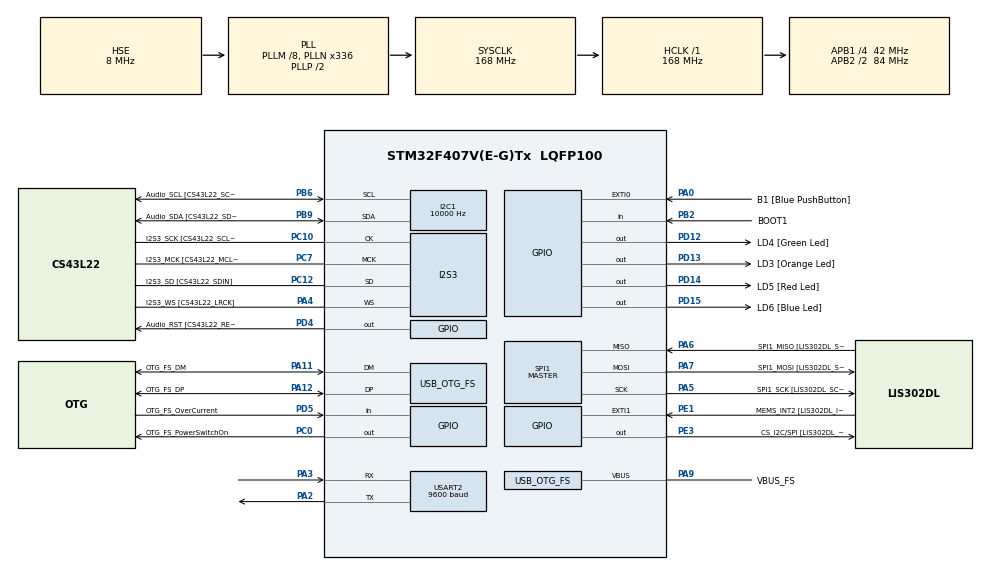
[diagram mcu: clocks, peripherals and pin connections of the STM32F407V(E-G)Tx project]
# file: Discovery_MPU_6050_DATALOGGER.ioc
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I2C1.ClockSpeed=10000
I2S3.AudioFreq-Half_Duplex_Master=I2S_AUDIOFREQ_96K
I2S3.ErrorAudioFreq=-2.34 %
I2S3.ErrorAudioFreq-Half_Duplex_Master=0.8 %
I2S3.FullDuplexMode=I2S_FULLDUPLEXMODE_DISABLE
I2S3.Instance=SPI$Index
I2S3.RealAudioFreq=93.75 KHz
I2S3.RealAudioFreq-Half_Duplex_Master=96.774 KHz
I2S3.VirtualMode=I2S_MODE_MASTER
Mcu.Family=STM32F4
Mcu.Name=STM32F407V(E-G)Tx
Mcu.Package=LQFP100
NVIC.OTG_FS_IRQn=true\:0\:0\:false\:false\:true\:true\:true\:true
NVIC.PriorityGroup=NVIC_PRIORITYGROUP_0
PA0-WKUP.GPIO_Label=B1 [Blue PushButton]
PA0-WKUP.GPIO_ModeDefaultEXTI=GPIO_MODE_EVT_RISING
PA0-WKUP.GPIO_PuPd=GPIO_NOPULL
PA0-WKUP.Signal=GPXTI0
PA10.GPIO_Label=OTG_FS_ID
PA10.GPIO_Mode=GPIO_MODE_AF_PP
PA10.GPIO_PuPd=GPIO_NOPULL
PA10.GPIO_Speed=GPIO_SPEED_FREQ_LOW
PA10.Signal=USB_OTG_FS_ID
PA11.GPIO_Label=OTG_FS_DM
PA11.GPIO_Mode=GPIO_MODE_AF_PP
PA11.GPIO_PuPd=GPIO_NOPULL
PA11.GPIO_Speed=GPIO_SPEED_FREQ_LOW
PA11.Mode=Host_Only
PA11.Signal=USB_OTG_FS_DM
PA12.GPIO_Label=OTG_FS_DP
PA12.GPIO_Mode=GPIO_MODE_AF_PP
PA12.GPIO_PuPd=GPIO_NOPULL
PA12.GPIO_Speed=GPIO_SPEED_FREQ_LOW
PA12.Mode=Host_Only
PA12.Signal=USB_OTG_FS_DP
PA13.GPIO_Label=SWDIO
PA13.Mode=Serial_Wire
PA13.Signal=SYS_JTMS-SWDIO
PA14.GPIO_Label=SWCLK
PA14.Mode=Serial_Wire
PA14.Signal=SYS_JTCK-SWCLK
PA2.Mode=Asynchronous
PA2.Signal=USART2_TX
PA3.Mode=Asynchronous
PA3.Signal=USART2_RX
PA4.GPIO_Label=I2S3_WS [CS43L22_LRCK]
PA4.GPIO_Mode=GPIO_MODE_AF_PP
PA4.GPIO_PuPd=GPIO_NOPULL
PA4.GPIO_Speed=GPIO_SPEED_FREQ_LOW
PA4.Mode=Half_Duplex_Master
PA4.Signal=I2S3_WS
PA5.GPIO_Label=SPI1_SCK [LIS302DL_SCL/SPC]
PA5.GPIO_Mode=GPIO_MODE_AF_PP
PA5.GPIO_PuPd=GPIO_NOPULL
PA5.GPIO_Speed=GPIO_SPEED_FREQ_LOW
PA5.Mode=Full_Duplex_Master
PA5.Signal=SPI1_SCK
PA6.GPIO_Label=SPI1_MISO [LIS302DL_SDO]
PA6.GPIO_Mode=GPIO_MODE_AF_PP
PA6.GPIO_PuPd=GPIO_NOPULL
PA6.GPIO_Speed=GPIO_SPEED_FREQ_LOW
PA6.Mode=Full_Duplex_Master
PA6.Signal=SPI1_MISO
PA7.GPIO_Label=SPI1_MOSI [LIS302DL_SDA/SDI/SDO]
PA7.GPIO_Mode=GPIO_MODE_AF_PP
PA7.GPIO_PuPd=GPIO_NOPULL
PA7.GPIO_Speed=GPIO_SPEED_FREQ_LOW
PA7.Mode=Full_Duplex_Master
PA7.Signal=SPI1_MOSI
PA9.GPIO_Label=VBUS_FS
PA9.GPIO_Mode=GPIO_MODE_INPUT
PA9.GPIO_PuPd=GPIO_NOPULL
PA9.Mode=Activate_VBUS
PA9.Signal=USB_OTG_FS_VBUS
PB10.GPIO_Label=CLK_IN [MP45DT02_CLK]
PB10.GPIO_Mode=GPIO_MODE_AF_PP
PB10.GPIO_PuPd=GPIO_NOPULL
PB10.GPIO_Speed=GPIO_SPEED_FREQ_LOW
PB10.Signal=I2S2_CK
PB2.GPIO_Label=BOOT1
PB2.GPIO_Mode=GPIO_MODE_INPUT
PB2.GPIO_PuPd=GPIO_NOPULL
PB2.Signal=GPIO_Input
PB3.GPIO_Label=SWO
PB3.Signal=SYS_JTDO-SWO
PB6.GPIO_Label=Audio_SCL [CS43L22_SCL]
PB6.GPIO_Mode=GPIO_MODE_AF_OD
PB6.GPIO_Pu=GPIO_PULLUP
PB6.GPIO_PuPd=GPIO_NOPULL
PB6.GPIO_Speed=GPIO_SPEED_FREQ_LOW
PB6.Mode=I2C
PB6.Signal=I2C1_SCL
PB9.GPIO_Label=Audio_SDA [CS43L22_SDA]
PB9.GPIO_Mode=GPIO_MODE_AF_OD
PB9.GPIO_Pu=GPIO_PULLUP
PB9.GPIO_PuPd=GPIO_NOPULL
PB9.GPIO_Speed=GPIO_SPEED_FREQ_LOW
PB9.Mode=I2C
PB9.Signal=I2C1_SDA
PC0.GPIO_Label=OTG_FS_PowerSwitchOn
PC0.GPIO_PuPd=GPIO_NOPULL
PC0.GPIO_Speed=GPIO_SPEED_FREQ_LOW
PC0.PinState=GPIO_PIN_SET
PC0.Signal=GPIO_Output
PC10.GPIO_Label=I2S3_SCK [CS43L22_SCLK]
PC10.GPIO_Mode=GPIO_MODE_AF_PP
PC10.GPIO_PuPd=GPIO_NOPULL
PC10.GPIO_Speed=GPIO_SPEED_FREQ_LOW
PC10.Mode=Half_Duplex_Master
PC10.Signal=I2S3_CK
PC12.GPIO_Label=I2S3_SD [CS43L22_SDIN]
PC12.GPIO_Mode=GPIO_MODE_AF_PP
PC12.GPIO_PuPd=GPIO_NOPULL
PC12.GPIO_Speed=GPIO_SPEED_FREQ_LOW
PC12.Mode=Half_Duplex_Master
PC12.Signal=I2S3_SD
PC14-OSC32_IN.GPIO_Label=PC14-OSC32_IN
PC14-OSC32_IN.Mode=LSE-External-Oscillator
PC14-OSC32_IN.Signal=RCC_OSC32_IN
PC15-OSC32_OUT.GPIO_Label=PC15-OSC32_OUT
PC15-OSC32_OUT.Mode=LSE-External-Oscillator
PC15-OSC32_OUT.Signal=RCC_OSC32_OUT
PC3.GPIO_Label=PDM_OUT [MP45DT02_DOUT]
PC3.GPIO_Mode=GPIO_MODE_AF_PP
PC3.GPIO_PuPd=GPIO_NOPULL
PC3.GPIO_Speed=GPIO_SPEED_FREQ_LOW
PC3.Signal=I2S2_SD
PC7.GPIO_Label=I2S3_MCK [CS43L22_MCLK]
PC7.GPIO_Mode=GPIO_MODE_AF_PP
PC7.GPIO_PuPd=GPIO_NOPULL
PC7.GPIO_Speed=GPIO_SPEED_FREQ_LOW
PC7.Mode=Master_Clock_Activated
PC7.Signal=I2S3_MCK
PD12.GPIO_Label=LD4 [Green Led]
PD12.GPIO_PuPd=GPIO_NOPULL
PD12.GPIO_Speed=GPIO_SPEED_FREQ_LOW
PD12.Signal=GPIO_Output
PD13.GPIO_Label=LD3 [Orange Led]
PD13.GPIO_PuPd=GPIO_NOPULL
PD13.GPIO_Speed=GPIO_SPEED_FREQ_LOW
PD13.Signal=GPIO_Output
PD14.GPIO_Label=LD5 [Red Led]
PD14.GPIO_PuPd=GPIO_NOPULL
PD14.GPIO_Speed=GPIO_SPEED_FREQ_LOW
PD14.Signal=GPIO_Output
PD15.GPIO_Label=LD6 [Blue Led]
PD15.GPIO_PuPd=GPIO_NOPULL
PD15.GPIO_Speed=GPIO_SPEED_FREQ_LOW
PD15.Signal=GPIO_Output
PD4.GPIO_Label=Audio_RST [CS43L22_RESET]
PD4.GPIO_PuPd=GPIO_NOPULL
PD4.GPIO_Speed=GPIO_SPEED_FREQ_LOW
PD4.Signal=GPIO_Output
PD5.GPIO_Label=OTG_FS_OverCurrent
PD5.GPIO_Mode=GPIO_MODE_INPUT
PD5.GPIO_PuPd=GPIO_NOPULL
PD5.Signal=GPIO_Input
PE1.GPIO_Label=MEMS_INT2 [LIS302DL_INT2]
PE1.GPIO_ModeDefaultEXTI=GPIO_MODE_EVT_RISING
PE1.GPIO_PuPd=GPIO_NOPULL
PE1.Signal=GPXTI1
PE3.GPIO_Label=CS_I2C/SPI [LIS302DL_CS_I2C/SPI]
PE3.GPIO_PuPd=GPIO_NOPULL
PE3.GPIO_Speed=GPIO_SPEED_FREQ_LOW
PE3.Signal=GPIO_Output
PH0-OSC_IN.GPIO_Label=PH0-OSC_IN
PH0-OSC_IN.Mode=HSE-External-Oscillator
PH0-OSC_IN.Signal=RCC_OSC_IN
PH1-OSC_OUT.GPIO_Label=PH1-OSC_OUT
PH1-OSC_OUT.Mode=HSE-External-Oscillator
PH1-OSC_OUT.Signal=RCC_OSC_OUT
ProjectManager.HeapSize=0x200
ProjectManager.StackSize=0x400
ProjectManager.TargetToolchain=STM32CubeIDE
RCC.48MHZClocksFreq_Value=48000000
RCC.AHBFreq_Value=168000000
RCC.APB1CLKDivider=RCC_HCLK_DIV4
RCC.APB1Freq_Value=42000000
RCC.APB1TimFreq_Value=84000000
RCC.APB2CLKDivider=RCC_HCLK_DIV2
RCC.APB2Freq_Value=84000000
RCC.APB2TimFreq_Value=168000000
RCC.CortexFreq_Value=168000000
RCC.HCLKFreq_Value=168000000
RCC.HSE_VALUE=8000000
RCC.HSI_VALUE=16000000
RCC.PLLM=8
RCC.PLLN=336
RCC.PLLQ=7
RCC.SYSCLKFreq_VALUE=168000000
RCC.SYSCLKSource=RCC_SYSCLKSOURCE_PLLCLK
RCC.VCOOutputFreq_Value=336000000
SPI1.BaudRatePrescaler-Full_Duplex_Master=SPI_BAUDRATEPRESCALER_2
SPI1.CalculateBaudRate-Full_Duplex_Master=42.0 MBits/s
SPI1.Direction=SPI_DIRECTION_2LINES
SPI1.Mode=SPI_MODE_MASTER
SPI1.Mode-Full_Duplex_Master=SPI_MODE_MASTER
SPI1.VirtualType=VM_MASTER
USART2.BaudRate=9600
USART2.VirtualMode=VM_ASYNC
USB_HOST.BSP.number=1
USB_HOST.USBH_HandleTypeDef-CDC_FS=hUsbHostFS
USB_HOST.VirtualModeFS=Cdc
USB_HOST0.BSP.STBoard=false
USB_HOST0.BSP.api=Unknown
USB_HOST0.BSP.instance=PC0
USB_HOST0.BSP.ip=GPIO
USB_HOST0.BSP.mode=Output
USB_HOST0.BSP.name=Drive_VBUS_FS
USB_HOST0.BSP.solution=PC0
USB_OTG_FS.VirtualMode=Host_Only
USB_OTG_FS.phy_itface=HCD_PHY_EMBEDDED
VP_USB_HOST_VS_USB_HOST_CDC_FS.Mode=CDC_FS
board=STM32F407G-DISC1

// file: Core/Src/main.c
/* USER CODE BEGIN Header */
/**
  ******************************************************************************
  * @file           : main.c
  * @brief          : Main program body
  ******************************************************************************
  * @attention
  *
  * Copyright (c) 2023 STMicroelectronics.
  * All rights reserved.
  *
  * This software is licensed under terms that can be found in the LICENSE file
  * in the root directory of this software component.
  * If no LICENSE file comes with this software, it is provided AS-IS.
  *
  ******************************************************************************
  */
/* USER CODE END Header */
#include "main.h"
#include "usb_host.h"

/* USER CODE BEGIN Includes */
#include "mpu.h"
#include "stdio.h"
#include "string.h"
/* USER CODE END Includes */

/* USER CODE BEGIN PM */
#define DATA_INPUT_USER 256
#define AXIS_NUMBER 3
/* USER CODE END PM */

I2C_HandleTypeDef hi2c1;

I2S_HandleTypeDef hi2s3;

SPI_HandleTypeDef hspi1;

UART_HandleTypeDef huart2;

/* USER CODE BEGIN PV */
float mpu_buffer[DATA_INPUT_USER * AXIS_NUMBER] = {0};
/* USER CODE END PV */

void SystemClock_Config(void);
static void MX_GPIO_Init(void);
static void MX_I2C1_Init(void);
static void MX_I2S3_Init(void);
static void MX_SPI1_Init(void);
static void MX_USART2_UART_Init(void);
void MX_USB_HOST_Process(void);

/* USER CODE BEGIN PFP */
void fill_mpu_buffer();
void Log();
/* USER CODE END PFP */

int main(void)
{

  /* MCU Configuration--------------------------------------------------------*/

  /* Reset of all peripherals, Initializes the Flash interface and the Systick. */
  HAL_Init();

  /* Configure the system clock */
  SystemClock_Config();

  /* Initialize all configured peripherals */
  MX_GPIO_Init();
  MX_I2C1_Init();
  MX_I2S3_Init();
  MX_SPI1_Init();
  MX_USB_HOST_Init();
  MX_USART2_UART_Init();
  /* USER CODE BEGIN 2 */
MPU6050_Init();
HAL_Delay(1000);
  /* USER CODE END 2 */

  /* Infinite loop */
  /* USER CODE BEGIN WHILE */
  while (1)
  {
	  Log();
    /* USER CODE END WHILE */
    MX_USB_HOST_Process();

  }
}

void SystemClock_Config(void)
{
  RCC_OscInitTypeDef RCC_OscInitStruct = {0};
  RCC_ClkInitTypeDef RCC_ClkInitStruct = {0};

  /** Configure the main internal regulator output voltage
  */
  __HAL_RCC_PWR_CLK_ENABLE();
  __HAL_PWR_VOLTAGESCALING_CONFIG(PWR_REGULATOR_VOLTAGE_SCALE1);

  /** Initializes the RCC Oscillators according to the specified parameters
  * in the RCC_OscInitTypeDef structure.
  */
  RCC_OscInitStruct.OscillatorType = RCC_OSCILLATORTYPE_HSE;
  RCC_OscInitStruct.HSEState = RCC_HSE_ON;
  RCC_OscInitStruct.PLL.PLLState = RCC_PLL_ON;
  RCC_OscInitStruct.PLL.PLLSource = RCC_PLLSOURCE_HSE;
  RCC_OscInitStruct.PLL.PLLM = 8;
  RCC_OscInitStruct.PLL.PLLN = 336;
  RCC_OscInitStruct.PLL.PLLP = RCC_PLLP_DIV2;
  RCC_OscInitStruct.PLL.PLLQ = 7;
  if (HAL_RCC_OscConfig(&RCC_OscInitStruct) != HAL_OK)
  {
    Error_Handler();
  }

  /** Initializes the CPU, AHB and APB buses clocks
  */
  RCC_ClkInitStruct.ClockType = RCC_CLOCKTYPE_HCLK|RCC_CLOCKTYPE_SYSCLK
                              |RCC_CLOCKTYPE_PCLK1|RCC_CLOCKTYPE_PCLK2;
  RCC_ClkInitStruct.SYSCLKSource = RCC_SYSCLKSOURCE_PLLCLK;
  RCC_ClkInitStruct.AHBCLKDivider = RCC_SYSCLK_DIV1;
  RCC_ClkInitStruct.APB1CLKDivider = RCC_HCLK_DIV4;
  RCC_ClkInitStruct.APB2CLKDivider = RCC_HCLK_DIV2;

  if (HAL_RCC_ClockConfig(&RCC_ClkInitStruct, FLASH_LATENCY_5) != HAL_OK)
  {
    Error_Handler();
  }
}

static void MX_I2C1_Init(void)
{

  hi2c1.Instance = I2C1;
  hi2c1.Init.ClockSpeed = 10000;
  hi2c1.Init.DutyCycle = I2C_DUTYCYCLE_2;
  hi2c1.Init.OwnAddress1 = 0;
  hi2c1.Init.AddressingMode = I2C_ADDRESSINGMODE_7BIT;
  hi2c1.Init.DualAddressMode = I2C_DUALADDRESS_DISABLE;
  hi2c1.Init.OwnAddress2 = 0;
  hi2c1.Init.GeneralCallMode = I2C_GENERALCALL_DISABLE;
  hi2c1.Init.NoStretchMode = I2C_NOSTRETCH_DISABLE;
  if (HAL_I2C_Init(&hi2c1) != HAL_OK)
  {
    Error_Handler();
  }

}

static void MX_I2S3_Init(void)
{

  hi2s3.Instance = SPI3;
  hi2s3.Init.Mode = I2S_MODE_MASTER_TX;
  hi2s3.Init.Standard = I2S_STANDARD_PHILIPS;
  hi2s3.Init.DataFormat = I2S_DATAFORMAT_16B;
  hi2s3.Init.MCLKOutput = I2S_MCLKOUTPUT_ENABLE;
  hi2s3.Init.AudioFreq = I2S_AUDIOFREQ_96K;
  hi2s3.Init.CPOL = I2S_CPOL_LOW;
  hi2s3.Init.ClockSource = I2S_CLOCK_PLL;
  hi2s3.Init.FullDuplexMode = I2S_FULLDUPLEXMODE_DISABLE;
  if (HAL_I2S_Init(&hi2s3) != HAL_OK)
  {
    Error_Handler();
  }

}

static void MX_SPI1_Init(void)
{

  /* SPI1 parameter configuration*/
  hspi1.Instance = SPI1;
  hspi1.Init.Mode = SPI_MODE_MASTER;
  hspi1.Init.Direction = SPI_DIRECTION_2LINES;
  hspi1.Init.DataSize = SPI_DATASIZE_8BIT;
  hspi1.Init.CLKPolarity = SPI_POLARITY_LOW;
  hspi1.Init.CLKPhase = SPI_PHASE_1EDGE;
  hspi1.Init.NSS = SPI_NSS_SOFT;
  hspi1.Init.BaudRatePrescaler = SPI_BAUDRATEPRESCALER_2;
  hspi1.Init.FirstBit = SPI_FIRSTBIT_MSB;
  hspi1.Init.TIMode = SPI_TIMODE_DISABLE;
  hspi1.Init.CRCCalculation = SPI_CRCCALCULATION_DISABLE;
  hspi1.Init.CRCPolynomial = 10;
  if (HAL_SPI_Init(&hspi1) != HAL_OK)
  {
    Error_Handler();
  }

}

static void MX_USART2_UART_Init(void)
{

  huart2.Instance = USART2;
  huart2.Init.BaudRate = 9600;
  huart2.Init.WordLength = UART_WORDLENGTH_8B;
  huart2.Init.StopBits = UART_STOPBITS_1;
  huart2.Init.Parity = UART_PARITY_NONE;
  huart2.Init.Mode = UART_MODE_TX_RX;
  huart2.Init.HwFlowCtl = UART_HWCONTROL_NONE;
  huart2.Init.OverSampling = UART_OVERSAMPLING_16;
  if (HAL_UART_Init(&huart2) != HAL_OK)
  {
    Error_Handler();
  }

}

static void MX_GPIO_Init(void)
{
  GPIO_InitTypeDef GPIO_InitStruct = {0};

  /* GPIO Ports Clock Enable */
  __HAL_RCC_GPIOE_CLK_ENABLE();
  __HAL_RCC_GPIOC_CLK_ENABLE();
  __HAL_RCC_GPIOH_CLK_ENABLE();
  __HAL_RCC_GPIOA_CLK_ENABLE();
  __HAL_RCC_GPIOB_CLK_ENABLE();
  __HAL_RCC_GPIOD_CLK_ENABLE();

  /*Configure GPIO pin Output Level */
  HAL_GPIO_WritePin(CS_I2C_SPI_GPIO_Port, CS_I2C_SPI_Pin, GPIO_PIN_RESET);

  /*Configure GPIO pin Output Level */
  HAL_GPIO_WritePin(OTG_FS_PowerSwitchOn_GPIO_Port, OTG_FS_PowerSwitchOn_Pin, GPIO_PIN_SET);

  /*Configure GPIO pin Output Level */
  HAL_GPIO_WritePin(GPIOD, LD4_Pin|LD3_Pin|LD5_Pin|LD6_Pin
                          |Audio_RST_Pin, GPIO_PIN_RESET);

  /*Configure GPIO pin : CS_I2C_SPI_Pin */
  GPIO_InitStruct.Pin = CS_I2C_SPI_Pin;
  GPIO_InitStruct.Mode = GPIO_MODE_OUTPUT_PP;
  GPIO_InitStruct.Pull = GPIO_NOPULL;
  GPIO_InitStruct.Speed = GPIO_SPEED_FREQ_LOW;
  HAL_GPIO_Init(CS_I2C_SPI_GPIO_Port, &GPIO_InitStruct);

  /*Configure GPIO pin : OTG_FS_PowerSwitchOn_Pin */
  GPIO_InitStruct.Pin = OTG_FS_PowerSwitchOn_Pin;
  GPIO_InitStruct.Mode = GPIO_MODE_OUTPUT_PP;
  GPIO_InitStruct.Pull = GPIO_NOPULL;
  GPIO_InitStruct.Speed = GPIO_SPEED_FREQ_LOW;
  HAL_GPIO_Init(OTG_FS_PowerSwitchOn_GPIO_Port, &GPIO_InitStruct);

  /*Configure GPIO pin : PDM_OUT_Pin */
  GPIO_InitStruct.Pin = PDM_OUT_Pin;
  GPIO_InitStruct.Mode = GPIO_MODE_AF_PP;
  GPIO_InitStruct.Pull = GPIO_NOPULL;
  GPIO_InitStruct.Speed = GPIO_SPEED_FREQ_LOW;
  GPIO_InitStruct.Alternate = GPIO_AF5_SPI2;
  HAL_GPIO_Init(PDM_OUT_GPIO_Port, &GPIO_InitStruct);

  /*Configure GPIO pin : B1_Pin */
  GPIO_InitStruct.Pin = B1_Pin;
  GPIO_InitStruct.Mode = GPIO_MODE_EVT_RISING;
  GPIO_InitStruct.Pull = GPIO_NOPULL;
  HAL_GPIO_Init(B1_GPIO_Port, &GPIO_InitStruct);

  /*Configure GPIO pin : BOOT1_Pin */
  GPIO_InitStruct.Pin = BOOT1_Pin;
  GPIO_InitStruct.Mode = GPIO_MODE_INPUT;
  GPIO_InitStruct.Pull = GPIO_NOPULL;
  HAL_GPIO_Init(BOOT1_GPIO_Port, &GPIO_InitStruct);

  /*Configure GPIO pin : CLK_IN_Pin */
  GPIO_InitStruct.Pin = CLK_IN_Pin;
  GPIO_InitStruct.Mode = GPIO_MODE_AF_PP;
  GPIO_InitStruct.Pull = GPIO_NOPULL;
  GPIO_InitStruct.Speed = GPIO_SPEED_FREQ_LOW;
  GPIO_InitStruct.Alternate = GPIO_AF5_SPI2;
  HAL_GPIO_Init(CLK_IN_GPIO_Port, &GPIO_InitStruct);

  /*Configure GPIO pins : LD4_Pin LD3_Pin LD5_Pin LD6_Pin
                           Audio_RST_Pin */
  GPIO_InitStruct.Pin = LD4_Pin|LD3_Pin|LD5_Pin|LD6_Pin
                          |Audio_RST_Pin;
  GPIO_InitStruct.Mode = GPIO_MODE_OUTPUT_PP;
  GPIO_InitStruct.Pull = GPIO_NOPULL;
  GPIO_InitStruct.Speed = GPIO_SPEED_FREQ_LOW;
  HAL_GPIO_Init(GPIOD, &GPIO_InitStruct);

  /*Configure GPIO pin : OTG_FS_OverCurrent_Pin */
  GPIO_InitStruct.Pin = OTG_FS_OverCurrent_Pin;
  GPIO_InitStruct.Mode = GPIO_MODE_INPUT;
  GPIO_InitStruct.Pull = GPIO_NOPULL;
  HAL_GPIO_Init(OTG_FS_OverCurrent_GPIO_Port, &GPIO_InitStruct);

  /*Configure GPIO pin : MEMS_INT2_Pin */
  GPIO_InitStruct.Pin = MEMS_INT2_Pin;
  GPIO_InitStruct.Mode = GPIO_MODE_EVT_RISING;
  GPIO_InitStruct.Pull = GPIO_NOPULL;
  HAL_GPIO_Init(MEMS_INT2_GPIO_Port, &GPIO_InitStruct);

}

/* USER CODE BEGIN 4 */
void fill_mpu_buffer() {
	for (int i = 0; i < DATA_INPUT_USER; i++) {
		MPU6050_Read_Accel(accel_data);
		mpu_buffer[AXIS_NUMBER * i] = Ax;
		mpu_buffer[AXIS_NUMBER * i + 1] = Ay;
		mpu_buffer[AXIS_NUMBER * i + 2] = Az;
	}
}

void Log() {
	fill_mpu_buffer();
	for (int i = 0; i < DATA_INPUT_USER; i++)
	{
		printf("%.2f",mpu_buffer[AXIS_NUMBER * i]);
		printf(" ");
		printf("%.2f",mpu_buffer[AXIS_NUMBER * i + 1]);
		printf(" ");
		printf("%.2f",mpu_buffer[AXIS_NUMBER * i + 2]);
		printf(" ");
	}
	printf("\r\n");
	HAL_Delay(100);
}

int __io_putchar(int ch) {
  HAL_UART_Transmit(&huart2, (uint8_t *)&ch, 1, HAL_MAX_DELAY);
  return ch;
}
/* USER CODE END 4 */

void Error_Handler(void)
{
  __disable_irq();
  while (1)
  {
  }
}
